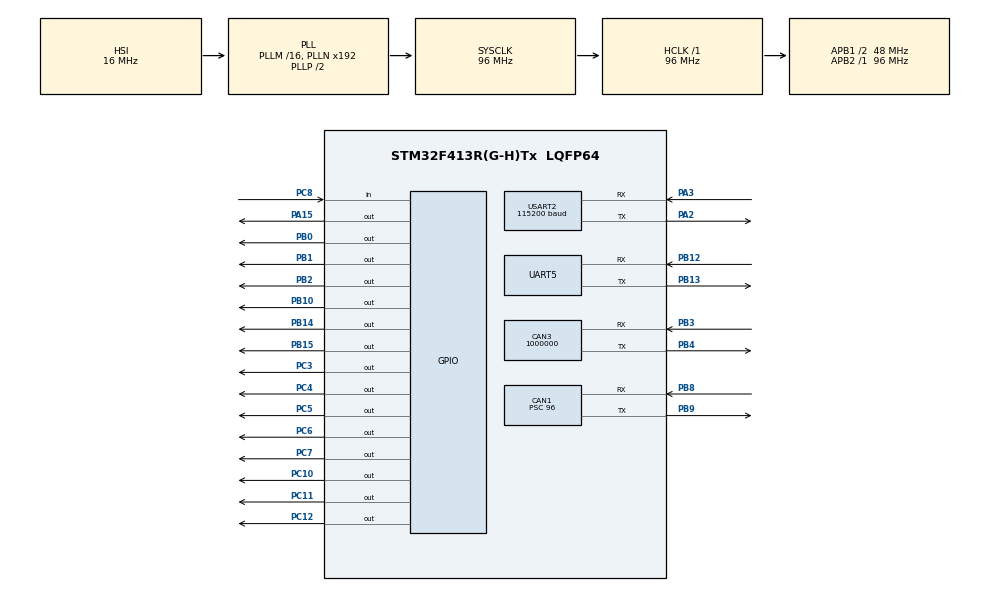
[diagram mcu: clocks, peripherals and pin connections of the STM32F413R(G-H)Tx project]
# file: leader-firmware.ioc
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CAN1.BS1=CAN_BS1_4TQ
CAN1.BS2=CAN_BS2_5TQ
CAN1.CalculateBaudRate=50000
CAN1.CalculateTimeBit=20000
CAN1.CalculateTimeQuantum=2000.0
CAN1.Prescaler=96
CAN3.BS1=CAN_BS1_1TQ
CAN3.BS2=CAN_BS2_1TQ
CAN3.CalculateBaudRate=1000000
CAN3.CalculateTimeBit=1000
CAN3.CalculateTimeQuantum=333.3333333333333
Mcu.Family=STM32F4
Mcu.Name=STM32F413R(G-H)Tx
Mcu.Package=LQFP64
NVIC.PriorityGroup=NVIC_PRIORITYGROUP_4
PA15.PinState=GPIO_PIN_SET
PA15.Signal=GPIO_Output
PA2.Mode=Asynchronous
PA2.Signal=USART2_TX
PA3.Mode=Asynchronous
PA3.Signal=USART2_RX
PB0.PinState=GPIO_PIN_SET
PB0.Signal=GPIO_Output
PB1.PinState=GPIO_PIN_SET
PB1.Signal=GPIO_Output
PB10.PinState=GPIO_PIN_SET
PB10.Signal=GPIO_Output
PB12.Mode=Asynchronous
PB12.Signal=UART5_RX
PB13.Mode=Asynchronous
PB13.Signal=UART5_TX
PB14.PinState=GPIO_PIN_SET
PB14.Signal=GPIO_Output
PB15.PinState=GPIO_PIN_SET
PB15.Signal=GPIO_Output
PB2.PinState=GPIO_PIN_SET
PB2.Signal=GPIO_Output
PB3.Mode=CAN_Activate
PB3.Signal=CAN3_RX
PB4.Mode=CAN_Activate
PB4.Signal=CAN3_TX
PB8.Mode=CAN_Activate
PB8.Signal=CAN1_RX
PB9.Mode=CAN_Activate
PB9.Signal=CAN1_TX
PC10.PinState=GPIO_PIN_SET
PC10.Signal=GPIO_Output
PC11.PinState=GPIO_PIN_SET
PC11.Signal=GPIO_Output
PC12.PinState=GPIO_PIN_SET
PC12.Signal=GPIO_Output
PC3.PinState=GPIO_PIN_SET
PC3.Signal=GPIO_Output
PC4.PinState=GPIO_PIN_SET
PC4.Signal=GPIO_Output
PC5.PinState=GPIO_PIN_SET
PC5.Signal=GPIO_Output
PC6.PinState=GPIO_PIN_SET
PC6.Signal=GPIO_Output
PC7.PinState=GPIO_PIN_SET
PC7.Signal=GPIO_Output
PC8.Signal=GPIO_Input
ProjectManager.HeapSize=0x200
ProjectManager.StackSize=0x400
ProjectManager.TargetToolchain=Makefile
RCC.AHBFreq_Value=96000000
RCC.APB1CLKDivider=RCC_HCLK_DIV2
RCC.APB1Freq_Value=48000000
RCC.APB1TimFreq_Value=96000000
RCC.APB2Freq_Value=96000000
RCC.APB2TimFreq_Value=96000000
RCC.CortexFreq_Value=96000000
RCC.HCLKFreq_Value=96000000
RCC.SYSCLKFreq_VALUE=96000000
RCC.SYSCLKSource=RCC_SYSCLKSOURCE_PLLCLK
RCC.USBFreq_Value=96000000
RCC.VCOOutputFreq_Value=192000000
UART5.VirtualMode=Asynchronous
USART2.BaudRate=115200
USART2.VirtualMode=VM_ASYNC
board=custom

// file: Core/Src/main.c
/* USER CODE BEGIN Header */
/**
  ******************************************************************************
  * @file           : main.c
  * @brief          : Main program body
  ******************************************************************************
  * @attention
  *
  * Copyright (c) 2025 STMicroelectronics.
  * All rights reserved.
  *
  * This software is licensed under terms that can be found in the LICENSE file
  * in the root directory of this software component.
  * If no LICENSE file comes with this software, it is provided AS-IS.
  *
  ******************************************************************************
  */
/* USER CODE END Header */
#include "main.h"
#include "stm32f4xx_hal.h"
#include "stm32f4xx_hal_def.h"
#include "stm32f4xx_hal_gpio.h"
#include "stm32f4xx_hal_uart.h"

/* USER CODE BEGIN Includes */
#include <stdint.h>
#include <stdio.h>

/* USER CODE END Includes */

CAN_HandleTypeDef hcan1;
CAN_HandleTypeDef hcan3;

UART_HandleTypeDef huart5;
UART_HandleTypeDef huart2;

void SystemClock_Config(void);
static void MX_GPIO_Init(void);
static void MX_CAN1_Init(void);
static void MX_CAN3_Init(void);
static void MX_USART2_UART_Init(void);
static void MX_UART5_Init(void);

/* USER CODE BEGIN 0 */
typedef struct{
    GPIO_TypeDef *GPIOx;
    uint16_t GPIO_PIN;

} gpio_t;

static const gpio_t ss_l[] = {
    {GPIOB, GPIO_PIN_10},
    {GPIOB, GPIO_PIN_1},
    {GPIOB, GPIO_PIN_14},
    {GPIOB, GPIO_PIN_2},
    {GPIOB, GPIO_PIN_0},
    {GPIOC, GPIO_PIN_5},
    {GPIOC, GPIO_PIN_4}
};

static const gpio_t ss_r[] = {
    {GPIOC, GPIO_PIN_6},
    {GPIOC, GPIO_PIN_7},
    {GPIOB, GPIO_PIN_15},
    {GPIOA, GPIO_PIN_15},
    {GPIOC, GPIO_PIN_10},
    {GPIOC, GPIO_PIN_11},
    {GPIOC, GPIO_PIN_12}
};

void iter(void){
    static int i = 0;
    HAL_GPIO_TogglePin(ss_r[i].GPIOx, ss_r[i].GPIO_PIN);
    HAL_GPIO_TogglePin(ss_l[i].GPIOx, ss_l[i].GPIO_PIN);
    i = (i + 1) % 7;
}

static const gpio_t arr[] = {
        {GPIOB, GPIO_PIN_10 },
        {GPIOC, GPIO_PIN_6  },
        {GPIOC, GPIO_PIN_7  },
        {GPIOC, GPIO_PIN_12 },
        {GPIOC, GPIO_PIN_4  },
        {GPIOB, GPIO_PIN_0  },
        {GPIOB, GPIO_PIN_2  },
        {GPIOA, GPIO_PIN_15 },
        {GPIOB, GPIO_PIN_15 },
        {GPIOC, GPIO_PIN_12 },
        {GPIOC, GPIO_PIN_4  }
        };

void cyc(void){
    static int i = 1;
    HAL_GPIO_WritePin(arr[i].GPIOx, arr[i].GPIO_PIN, GPIO_PIN_SET);
    HAL_GPIO_WritePin(arr[(i+1)%11].GPIOx, arr[(i+1)%11].GPIO_PIN, GPIO_PIN_RESET);
    i = (i + 1) % 11;
}

/* USER CODE END 0 */

int main(void)
{

  /* MCU Configuration--------------------------------------------------------*/

  /* Reset of all peripherals, Initializes the Flash interface and the Systick. */
  HAL_Init();

  /* Configure the system clock */
  SystemClock_Config();

  /* Initialize all configured peripherals */
  MX_GPIO_Init();
  MX_CAN1_Init();
  MX_CAN3_Init();
  MX_USART2_UART_Init();
  MX_UART5_Init();
  /* USER CODE BEGIN 2 */
  CAN_FilterTypeDef filterConfig;

  filterConfig.FilterIdHigh = 0x0000;
  filterConfig.FilterIdLow  = 0x0000;

  filterConfig.FilterMaskIdHigh = 0x0000;
  filterConfig.FilterMaskIdLow  = 0x0000;

  filterConfig.FilterFIFOAssignment = CAN_RX_FIFO0;
  filterConfig.FilterBank = 0;
  filterConfig.FilterMode = CAN_FILTERMODE_IDMASK;
  filterConfig.FilterScale = CAN_FILTERSCALE_32BIT;
  filterConfig.FilterActivation = ENABLE;
  filterConfig.SlaveStartFilterBank = 0;

  HAL_CAN_ConfigFilter(&hcan1, &filterConfig);

  HAL_CAN_Start(&hcan1);

  /* USER CODE END 2 */

  /* Infinite loop */
  while (1)
  {

  }
}

void SystemClock_Config(void)
{
  RCC_OscInitTypeDef RCC_OscInitStruct = {0};
  RCC_ClkInitTypeDef RCC_ClkInitStruct = {0};

  /** Configure the main internal regulator output voltage
  */
  __HAL_RCC_PWR_CLK_ENABLE();
  __HAL_PWR_VOLTAGESCALING_CONFIG(PWR_REGULATOR_VOLTAGE_SCALE1);

  /** Initializes the RCC Oscillators according to the specified parameters
  * in the RCC_OscInitTypeDef structure.
  */
  RCC_OscInitStruct.OscillatorType = RCC_OSCILLATORTYPE_HSI;
  RCC_OscInitStruct.HSIState = RCC_HSI_ON;
  RCC_OscInitStruct.HSICalibrationValue = RCC_HSICALIBRATION_DEFAULT;
  RCC_OscInitStruct.PLL.PLLState = RCC_PLL_ON;
  RCC_OscInitStruct.PLL.PLLSource = RCC_PLLSOURCE_HSI;
  RCC_OscInitStruct.PLL.PLLM = 16;
  RCC_OscInitStruct.PLL.PLLN = 192;
  RCC_OscInitStruct.PLL.PLLP = RCC_PLLP_DIV2;
  RCC_OscInitStruct.PLL.PLLQ = 2;
  RCC_OscInitStruct.PLL.PLLR = 2;
  if (HAL_RCC_OscConfig(&RCC_OscInitStruct) != HAL_OK)
  {
    Error_Handler();
  }

  /** Initializes the CPU, AHB and APB buses clocks
  */
  RCC_ClkInitStruct.ClockType = RCC_CLOCKTYPE_HCLK|RCC_CLOCKTYPE_SYSCLK
                              |RCC_CLOCKTYPE_PCLK1|RCC_CLOCKTYPE_PCLK2;
  RCC_ClkInitStruct.SYSCLKSource = RCC_SYSCLKSOURCE_PLLCLK;
  RCC_ClkInitStruct.AHBCLKDivider = RCC_SYSCLK_DIV1;
  RCC_ClkInitStruct.APB1CLKDivider = RCC_HCLK_DIV2;
  RCC_ClkInitStruct.APB2CLKDivider = RCC_HCLK_DIV1;

  if (HAL_RCC_ClockConfig(&RCC_ClkInitStruct, FLASH_LATENCY_3) != HAL_OK)
  {
    Error_Handler();
  }
}

static void MX_CAN1_Init(void)
{

  hcan1.Instance = CAN1;
  hcan1.Init.Prescaler = 96;
  hcan1.Init.Mode = CAN_MODE_NORMAL;
  hcan1.Init.SyncJumpWidth = CAN_SJW_1TQ;
  hcan1.Init.TimeSeg1 = CAN_BS1_4TQ;
  hcan1.Init.TimeSeg2 = CAN_BS2_5TQ;
  hcan1.Init.TimeTriggeredMode = DISABLE;
  hcan1.Init.AutoBusOff = DISABLE;
  hcan1.Init.AutoWakeUp = DISABLE;
  hcan1.Init.AutoRetransmission = DISABLE;
  hcan1.Init.ReceiveFifoLocked = DISABLE;
  hcan1.Init.TransmitFifoPriority = DISABLE;
  if (HAL_CAN_Init(&hcan1) != HAL_OK)
  {
    Error_Handler();
  }

}

static void MX_CAN3_Init(void)
{

  hcan3.Instance = CAN3;
  hcan3.Init.Prescaler = 16;
  hcan3.Init.Mode = CAN_MODE_NORMAL;
  hcan3.Init.SyncJumpWidth = CAN_SJW_1TQ;
  hcan3.Init.TimeSeg1 = CAN_BS1_1TQ;
  hcan3.Init.TimeSeg2 = CAN_BS2_1TQ;
  hcan3.Init.TimeTriggeredMode = DISABLE;
  hcan3.Init.AutoBusOff = DISABLE;
  hcan3.Init.AutoWakeUp = DISABLE;
  hcan3.Init.AutoRetransmission = DISABLE;
  hcan3.Init.ReceiveFifoLocked = DISABLE;
  hcan3.Init.TransmitFifoPriority = DISABLE;
  if (HAL_CAN_Init(&hcan3) != HAL_OK)
  {
    Error_Handler();
  }

}

static void MX_UART5_Init(void)
{

  huart5.Instance = UART5;
  huart5.Init.BaudRate = 115200;
  huart5.Init.WordLength = UART_WORDLENGTH_8B;
  huart5.Init.StopBits = UART_STOPBITS_1;
  huart5.Init.Parity = UART_PARITY_NONE;
  huart5.Init.Mode = UART_MODE_TX_RX;
  huart5.Init.HwFlowCtl = UART_HWCONTROL_NONE;
  huart5.Init.OverSampling = UART_OVERSAMPLING_16;
  if (HAL_UART_Init(&huart5) != HAL_OK)
  {
    Error_Handler();
  }

}

static void MX_USART2_UART_Init(void)
{

  huart2.Instance = USART2;
  huart2.Init.BaudRate = 115200;
  huart2.Init.WordLength = UART_WORDLENGTH_8B;
  huart2.Init.StopBits = UART_STOPBITS_1;
  huart2.Init.Parity = UART_PARITY_NONE;
  huart2.Init.Mode = UART_MODE_TX_RX;
  huart2.Init.HwFlowCtl = UART_HWCONTROL_NONE;
  huart2.Init.OverSampling = UART_OVERSAMPLING_16;
  if (HAL_UART_Init(&huart2) != HAL_OK)
  {
    Error_Handler();
  }

}

static void MX_GPIO_Init(void)
{
  GPIO_InitTypeDef GPIO_InitStruct = {0};

  /* GPIO Ports Clock Enable */
  __HAL_RCC_GPIOC_CLK_ENABLE();
  __HAL_RCC_GPIOA_CLK_ENABLE();
  __HAL_RCC_GPIOB_CLK_ENABLE();

  /*Configure GPIO pin Output Level */
  HAL_GPIO_WritePin(GPIOC, GPIO_PIN_3|GPIO_PIN_4|GPIO_PIN_5|GPIO_PIN_6
                          |GPIO_PIN_7|GPIO_PIN_10|GPIO_PIN_11|GPIO_PIN_12, GPIO_PIN_SET);

  /*Configure GPIO pin Output Level */
  HAL_GPIO_WritePin(GPIOB, GPIO_PIN_0|GPIO_PIN_1|GPIO_PIN_2|GPIO_PIN_10
                          |GPIO_PIN_14|GPIO_PIN_15, GPIO_PIN_SET);

  /*Configure GPIO pin Output Level */
  HAL_GPIO_WritePin(GPIOA, GPIO_PIN_15, GPIO_PIN_SET);

  /*Configure GPIO pins : PC3 PC4 PC5 PC6
                           PC7 PC10 PC11 PC12 */
  GPIO_InitStruct.Pin = GPIO_PIN_3|GPIO_PIN_4|GPIO_PIN_5|GPIO_PIN_6
                          |GPIO_PIN_7|GPIO_PIN_10|GPIO_PIN_11|GPIO_PIN_12;
  GPIO_InitStruct.Mode = GPIO_MODE_OUTPUT_PP;
  GPIO_InitStruct.Pull = GPIO_NOPULL;
  GPIO_InitStruct.Speed = GPIO_SPEED_FREQ_LOW;
  HAL_GPIO_Init(GPIOC, &GPIO_InitStruct);

  /*Configure GPIO pins : PB0 PB1 PB2 PB10
                           PB14 PB15 */
  GPIO_InitStruct.Pin = GPIO_PIN_0|GPIO_PIN_1|GPIO_PIN_2|GPIO_PIN_10
                          |GPIO_PIN_14|GPIO_PIN_15;
  GPIO_InitStruct.Mode = GPIO_MODE_OUTPUT_PP;
  GPIO_InitStruct.Pull = GPIO_NOPULL;
  GPIO_InitStruct.Speed = GPIO_SPEED_FREQ_LOW;
  HAL_GPIO_Init(GPIOB, &GPIO_InitStruct);

  /*Configure GPIO pin : PC8 */
  GPIO_InitStruct.Pin = GPIO_PIN_8;
  GPIO_InitStruct.Mode = GPIO_MODE_INPUT;
  GPIO_InitStruct.Pull = GPIO_NOPULL;
  HAL_GPIO_Init(GPIOC, &GPIO_InitStruct);

  /*Configure GPIO pin : PA15 */
  GPIO_InitStruct.Pin = GPIO_PIN_15;
  GPIO_InitStruct.Mode = GPIO_MODE_OUTPUT_PP;
  GPIO_InitStruct.Pull = GPIO_NOPULL;
  GPIO_InitStruct.Speed = GPIO_SPEED_FREQ_LOW;
  HAL_GPIO_Init(GPIOA, &GPIO_InitStruct);

}

void Error_Handler(void)
{
  __disable_irq();
  while (1)
  {
  }
}
